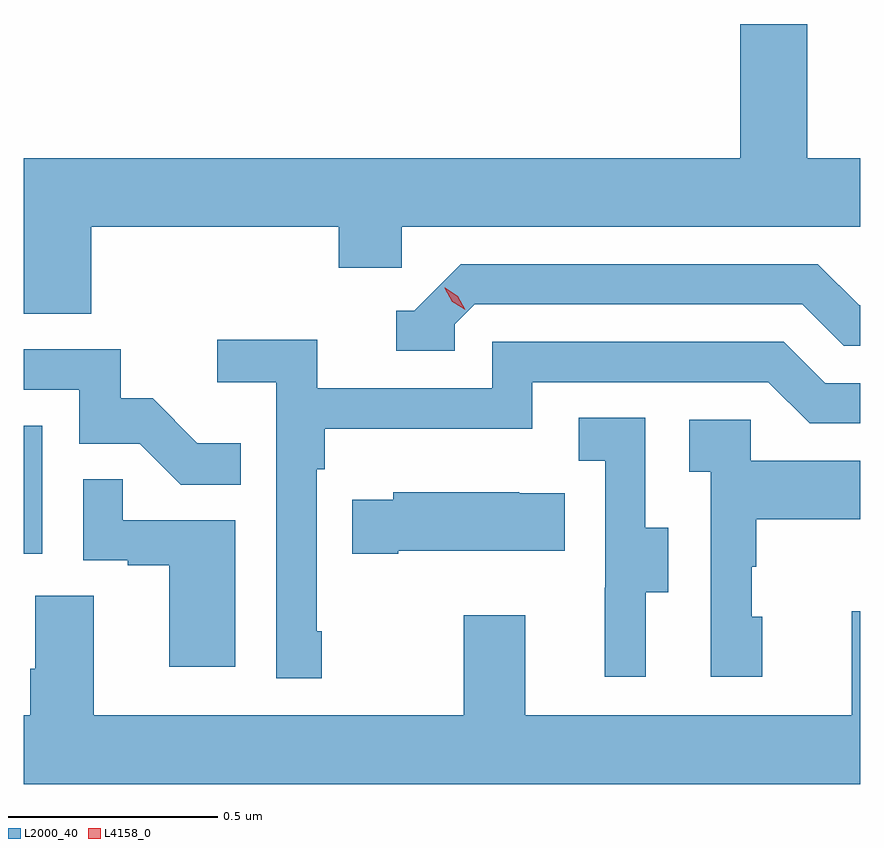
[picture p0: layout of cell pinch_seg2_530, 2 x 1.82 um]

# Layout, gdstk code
import gdstk
lib = gdstk.Library(unit=1e-6, precision=1e-09)
def R(c, l, rs):  # rectangles x0, y0, x1, y1
    for r in rs: c.add(gdstk.rectangle(r[:2], r[2:], *l))
def P(c, l, *ps):  # polygons
    for p in ps: c.add(gdstk.Polygon(p, *l))
L2000_40 = (2000, 40)
L4158_0 = (4158, 0)

pinch_seg2_530 = lib.new_cell('pinch_seg2_530')
R(pinch_seg2_530, L2000_40, [(952.208,588.246,952.252,588.553)])
P(pinch_seg2_530, L2000_40, [(952.37,589.028),(952.961,589.028),(952.961,588.93),(953.112,588.93),(953.112,589.028),(954.208,589.028),(954.208,589.192),(954.081,589.192),(954.081,589.513),(953.921,589.513),(953.921,589.192),(952.208,589.192),(952.208,588.82),(952.37,588.82)],
  [(953.238,588.795),(953.286,588.843),(954.069,588.843),(954.168,588.744),(954.208,588.744),(954.208,588.84),(954.205,588.84),(954.106,588.939),(953.253,588.939),(953.142,588.828),(953.099,588.828),(953.099,588.732),(953.238,588.732)],
  [(952.921,588.061),(952.908,588.061),(952.908,588.449),(952.928,588.449),(952.928,588.545),(953.424,588.545),(953.424,588.657),(953.988,588.657),(954.087,588.558),(954.208,588.558),(954.208,588.654),(954.124,588.654),(954.025,588.753),(953.328,588.753),(953.328,588.642),(952.91,588.642),(952.91,588.758),(952.671,588.758),(952.671,588.656),(952.812,588.656),(952.812,587.949),(952.921,587.949)],
  [(952.727,588.511),(952.623,588.511),(952.516,588.618),(952.44,588.618),(952.44,588.735),(952.208,588.735),(952.208,588.639),(952.341,588.639),(952.341,588.51),(952.485,588.51),(952.583,588.412),(952.727,588.412)],
  [(953.695,588.154),(953.749,588.154),(953.749,588.309),(953.694,588.309),(953.694,588.572),(953.535,588.572),(953.535,588.469),(953.598,588.469),(953.598,588.165),(953.597,588.165),(953.597,587.952),(953.695,587.952)],
  [(953.974,588.096),(953.949,588.096),(953.949,588.215),(953.959,588.215),(953.959,588.329),(954.208,588.329),(954.208,588.469),(953.946,588.469),(953.946,588.567),(953.799,588.567),(953.799,588.443),(953.85,588.443),(953.85,587.952),(953.974,587.952)],
  [(952.714,588.327),(952.445,588.327),(952.445,588.425),(952.35,588.425),(952.35,588.231),(952.457,588.231),(952.457,588.219),(952.556,588.219),(952.556,587.976),(952.714,587.976)],
  [(953.104,588.254),(953.501,588.254),(953.501,588.391),(953.393,588.391),(953.393,588.394),(953.091,588.394),(953.091,588.376),(952.993,588.376),(952.993,588.247),(953.104,588.247)],
  [(954.208,588.109),(954.188,588.109),(954.188,587.86),(953.407,587.86),(953.407,588.1),(953.26,588.1),(953.26,587.86),(952.375,587.86),(952.375,588.146),(952.235,588.146),(952.235,587.972),(952.223,587.972),(952.223,587.86),(952.208,587.86),(952.208,587.696),(954.208,587.696)])
P(pinch_seg2_530, L4158_0, [(953.263,588.83),(953.232,588.849),(953.215,588.881),(953.215,588.882),(953.216,588.882),(953.246,588.862),(953.263,588.83),(953.263,588.83)])

lib.write_gds('pinch_seg2_530.gds')
